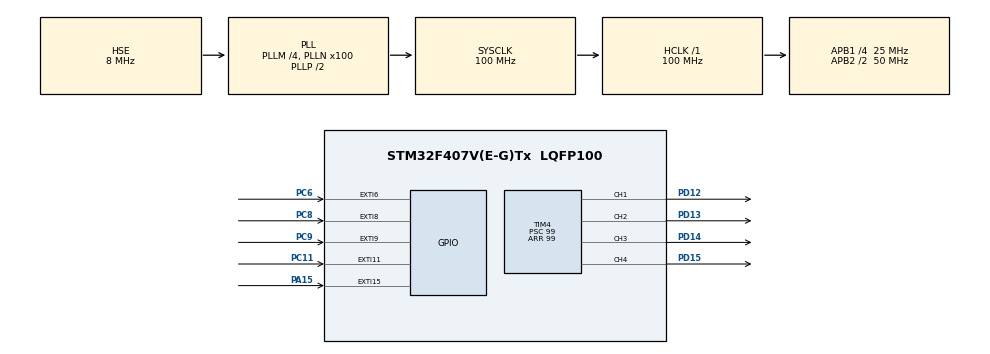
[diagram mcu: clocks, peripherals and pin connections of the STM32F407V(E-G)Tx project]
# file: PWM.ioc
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Mcu.Family=STM32F4
Mcu.Name=STM32F407V(E-G)Tx
Mcu.Package=LQFP100
NVIC.EXTI15_10_IRQn=true\:0\:0\:false\:false\:true\:true\:true
NVIC.EXTI9_5_IRQn=true\:0\:0\:false\:false\:true\:true\:true
NVIC.PriorityGroup=NVIC_PRIORITYGROUP_4
PA15.Signal=GPXTI15
PC11.Signal=GPXTI11
PC6.Signal=GPXTI6
PC8.Signal=GPXTI8
PC9.Signal=GPXTI9
PD12.Signal=S_TIM4_CH1
PD13.Signal=S_TIM4_CH2
PD14.Signal=S_TIM4_CH3
PD15.Signal=S_TIM4_CH4
PH0-OSC_IN.Mode=HSE-External-Oscillator
PH0-OSC_IN.Signal=RCC_OSC_IN
PH1-OSC_OUT.Mode=HSE-External-Oscillator
PH1-OSC_OUT.Signal=RCC_OSC_OUT
ProjectManager.HeapSize=0x200
ProjectManager.StackSize=0x400
ProjectManager.TargetToolchain=STM32CubeIDE
RCC.48MHZClocksFreq_Value=50000000
RCC.AHBFreq_Value=100000000
RCC.APB1CLKDivider=RCC_HCLK_DIV4
RCC.APB1Freq_Value=25000000
RCC.APB1TimFreq_Value=50000000
RCC.APB2CLKDivider=RCC_HCLK_DIV2
RCC.APB2Freq_Value=50000000
RCC.APB2TimFreq_Value=100000000
RCC.CortexFreq_Value=100000000
RCC.HCLKFreq_Value=100000000
RCC.HSE_VALUE=8000000
RCC.HSI_VALUE=16000000
RCC.LSE_VALUE=32768
RCC.PLLM=4
RCC.PLLN=100
RCC.PLLSourceVirtual=RCC_PLLSOURCE_HSE
RCC.SYSCLKFreq_VALUE=100000000
RCC.SYSCLKSource=RCC_SYSCLKSOURCE_PLLCLK
RCC.VCOOutputFreq_Value=200000000
SH.S_TIM4_CH1.0=TIM4_CH1,PWM Generation1 CH1
SH.S_TIM4_CH2.0=TIM4_CH2,PWM Generation2 CH2
SH.S_TIM4_CH3.0=TIM4_CH3,PWM Generation3 CH3
SH.S_TIM4_CH4.0=TIM4_CH4,PWM Generation4 CH4
TIM4.AutoReloadPreload=TIM_AUTORELOAD_PRELOAD_ENABLE
TIM4.Channel-PWM\ Generation1\ CH1=TIM_CHANNEL_1
TIM4.Channel-PWM\ Generation2\ CH2=TIM_CHANNEL_2
TIM4.Channel-PWM\ Generation3\ CH3=TIM_CHANNEL_3
TIM4.Channel-PWM\ Generation4\ CH4=TIM_CHANNEL_4
TIM4.Period=99
TIM4.Prescaler=99
TIM4.Pulse-PWM\ Generation1\ CH1=5
TIM4.Pulse-PWM\ Generation2\ CH2=5
TIM4.Pulse-PWM\ Generation3\ CH3=5
TIM4.Pulse-PWM\ Generation4\ CH4=5
board=custom

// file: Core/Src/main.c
/* USER CODE BEGIN Header */
/**
 ******************************************************************************
 * @file           : main.c
 * @brief          : Main program body
 ******************************************************************************
 * @attention
 *
 * <h2><center>&copy; Copyright (c) 2021 STMicroelectronics.
 * All rights reserved.</center></h2>
 *
 * This software component is licensed by ST under BSD 3-Clause license,
 * the "License"; You may not use this file except in compliance with the
 * License. You may obtain a copy of the License at:
 *                        opensource.org/licenses/BSD-3-Clause
 *
 ******************************************************************************
 */
/* USER CODE END Header */
#include "main.h"

/* USER CODE BEGIN PD */
#define MAX_IN_FREQUENCY 50000000 // Максимальная входная частота таймера
#define COUNT_PERIOD 100
/* USER CODE END PD */

TIM_HandleTypeDef htim4;

void SystemClock_Config(void);
static void MX_GPIO_Init(void);
static void MX_TIM4_Init(void);

int main(void) {

	/* MCU Configuration--------------------------------------------------------*/

	/* Reset of all peripherals, Initializes the Flash interface and the Systick. */
	HAL_Init();

	/* Configure the system clock */
	SystemClock_Config();

	/* Initialize all configured peripherals */
	MX_GPIO_Init();
	MX_TIM4_Init();
	/* USER CODE BEGIN 2 */
	HAL_TIM_PWM_Start(&htim4, TIM_CHANNEL_1);
	/* USER CODE END 2 */

	/* Infinite loop */
	/* USER CODE BEGIN WHILE */
	while (1) {
		TIM4->PSC = ((MAX_IN_FREQUENCY / getFrequency()) / COUNT_PERIOD) - 1; //Увел. или умен. частоты

		switch (getLeds()) //Переключение светодиодов с увел. или с умен. рабочего цикла
		{
		case GPIO_PIN_12:
			HAL_TIM_PWM_Stop(&htim4, TIM_CHANNEL_4);
			HAL_TIM_PWM_Start(&htim4, TIM_CHANNEL_1);
			TIM4->CCR1 = (COUNT_PERIOD / 100) * getCycle();
			break;
		case GPIO_PIN_13:
			HAL_TIM_PWM_Stop(&htim4, TIM_CHANNEL_1);
			HAL_TIM_PWM_Start(&htim4, TIM_CHANNEL_2);
			TIM4->CCR2 = (COUNT_PERIOD / 100) * getCycle();
			break;
		case GPIO_PIN_14:
			HAL_TIM_PWM_Stop(&htim4, TIM_CHANNEL_2);
			HAL_TIM_PWM_Start(&htim4, TIM_CHANNEL_3);
			TIM4->CCR3 = (COUNT_PERIOD / 100) * getCycle();
			break;
		case GPIO_PIN_15:
			HAL_TIM_PWM_Stop(&htim4, TIM_CHANNEL_3);
			HAL_TIM_PWM_Start(&htim4, TIM_CHANNEL_4);
			TIM4->CCR4 = (COUNT_PERIOD / 100) * getCycle();
			break;
		}
		/* USER CODE END WHILE */

	}
}

void SystemClock_Config(void) {
	RCC_OscInitTypeDef RCC_OscInitStruct = { 0 };
	RCC_ClkInitTypeDef RCC_ClkInitStruct = { 0 };

	/** Configure the main internal regulator output voltage
	 */
	__HAL_RCC_PWR_CLK_ENABLE();
	__HAL_PWR_VOLTAGESCALING_CONFIG(PWR_REGULATOR_VOLTAGE_SCALE1);
	/** Initializes the RCC Oscillators according to the specified parameters
	 * in the RCC_OscInitTypeDef structure.
	 */
	RCC_OscInitStruct.OscillatorType = RCC_OSCILLATORTYPE_HSE;
	RCC_OscInitStruct.HSEState = RCC_HSE_ON;
	RCC_OscInitStruct.PLL.PLLState = RCC_PLL_ON;
	RCC_OscInitStruct.PLL.PLLSource = RCC_PLLSOURCE_HSE;
	RCC_OscInitStruct.PLL.PLLM = 4;
	RCC_OscInitStruct.PLL.PLLN = 100;
	RCC_OscInitStruct.PLL.PLLP = RCC_PLLP_DIV2;
	RCC_OscInitStruct.PLL.PLLQ = 4;
	if (HAL_RCC_OscConfig(&RCC_OscInitStruct) != HAL_OK) {
		Error_Handler();
	}
	/** Initializes the CPU, AHB and APB buses clocks
	 */
	RCC_ClkInitStruct.ClockType = RCC_CLOCKTYPE_HCLK | RCC_CLOCKTYPE_SYSCLK
			| RCC_CLOCKTYPE_PCLK1 | RCC_CLOCKTYPE_PCLK2;
	RCC_ClkInitStruct.SYSCLKSource = RCC_SYSCLKSOURCE_PLLCLK;
	RCC_ClkInitStruct.AHBCLKDivider = RCC_SYSCLK_DIV1;
	RCC_ClkInitStruct.APB1CLKDivider = RCC_HCLK_DIV4;
	RCC_ClkInitStruct.APB2CLKDivider = RCC_HCLK_DIV2;

	if (HAL_RCC_ClockConfig(&RCC_ClkInitStruct, FLASH_LATENCY_3) != HAL_OK) {
		Error_Handler();
	}
}

static void MX_TIM4_Init(void) {

	TIM_MasterConfigTypeDef sMasterConfig = { 0 };
	TIM_OC_InitTypeDef sConfigOC = { 0 };

	htim4.Instance = TIM4;
	htim4.Init.Prescaler = 99;
	htim4.Init.CounterMode = TIM_COUNTERMODE_UP;
	htim4.Init.Period = 99;
	htim4.Init.ClockDivision = TIM_CLOCKDIVISION_DIV1;
	htim4.Init.AutoReloadPreload = TIM_AUTORELOAD_PRELOAD_ENABLE;
	if (HAL_TIM_PWM_Init(&htim4) != HAL_OK) {
		Error_Handler();
	}
	sMasterConfig.MasterOutputTrigger = TIM_TRGO_RESET;
	sMasterConfig.MasterSlaveMode = TIM_MASTERSLAVEMODE_DISABLE;
	if (HAL_TIMEx_MasterConfigSynchronization(&htim4, &sMasterConfig)
			!= HAL_OK) {
		Error_Handler();
	}
	sConfigOC.OCMode = TIM_OCMODE_PWM1;
	sConfigOC.Pulse = 5;
	sConfigOC.OCPolarity = TIM_OCPOLARITY_HIGH;
	sConfigOC.OCFastMode = TIM_OCFAST_DISABLE;
	if (HAL_TIM_PWM_ConfigChannel(&htim4, &sConfigOC, TIM_CHANNEL_1)
			!= HAL_OK) {
		Error_Handler();
	}
	if (HAL_TIM_PWM_ConfigChannel(&htim4, &sConfigOC, TIM_CHANNEL_2)
			!= HAL_OK) {
		Error_Handler();
	}
	if (HAL_TIM_PWM_ConfigChannel(&htim4, &sConfigOC, TIM_CHANNEL_3)
			!= HAL_OK) {
		Error_Handler();
	}
	if (HAL_TIM_PWM_ConfigChannel(&htim4, &sConfigOC, TIM_CHANNEL_4)
			!= HAL_OK) {
		Error_Handler();
	}
	HAL_TIM_MspPostInit(&htim4);

}

static void MX_GPIO_Init(void) {
	GPIO_InitTypeDef GPIO_InitStruct = { 0 };

	/* GPIO Ports Clock Enable */
	__HAL_RCC_GPIOH_CLK_ENABLE();
	__HAL_RCC_GPIOD_CLK_ENABLE();
	__HAL_RCC_GPIOC_CLK_ENABLE();
	__HAL_RCC_GPIOA_CLK_ENABLE();

	/*Configure GPIO pins : PC6 PC8 PC9 PC11 */
	GPIO_InitStruct.Pin = GPIO_PIN_6 | GPIO_PIN_8 | GPIO_PIN_9 | GPIO_PIN_11;
	GPIO_InitStruct.Mode = GPIO_MODE_IT_RISING;
	GPIO_InitStruct.Pull = GPIO_NOPULL;
	HAL_GPIO_Init(GPIOC, &GPIO_InitStruct);

	/*Configure GPIO pin : PA15 */
	GPIO_InitStruct.Pin = GPIO_PIN_15;
	GPIO_InitStruct.Mode = GPIO_MODE_IT_RISING;
	GPIO_InitStruct.Pull = GPIO_NOPULL;
	HAL_GPIO_Init(GPIOA, &GPIO_InitStruct);

	/* EXTI interrupt init*/
	HAL_NVIC_SetPriority(EXTI9_5_IRQn, 0, 0);
	HAL_NVIC_EnableIRQ(EXTI9_5_IRQn);

	HAL_NVIC_SetPriority(EXTI15_10_IRQn, 0, 0);
	HAL_NVIC_EnableIRQ(EXTI15_10_IRQn);

}

void Error_Handler(void) {
	__disable_irq();
	while (1) {
	}
}

/************************ (C) COPYRIGHT STMicroelectronics *****END OF FILE****/
